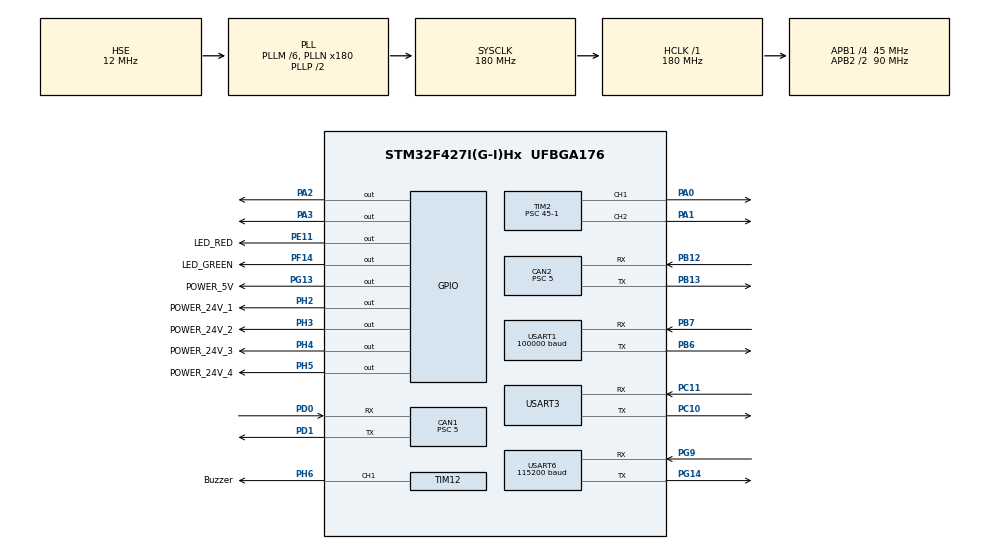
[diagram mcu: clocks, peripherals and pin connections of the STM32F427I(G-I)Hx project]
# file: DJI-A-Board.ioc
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CAN1.ABOM=ENABLE
CAN1.BS1=CAN_BS1_3TQ
CAN1.BS2=CAN_BS2_5TQ
CAN1.CalculateBaudRate=1000000
CAN1.CalculateTimeBit=1000
CAN1.CalculateTimeQuantum=111.11111111111111
CAN1.NART=ENABLE
CAN1.Prescaler=5
CAN2.ABOM=ENABLE
CAN2.BS1=CAN_BS1_3TQ
CAN2.BS2=CAN_BS2_5TQ
CAN2.CalculateBaudRate=1000000
CAN2.CalculateTimeBit=1000
CAN2.CalculateTimeQuantum=111.11111111111111
CAN2.NART=ENABLE
CAN2.Prescaler=5
Dma.Request0=USART1_RX
Dma.Request1=USART6_RX
Dma.Request2=USART6_TX
Dma.Request3=USART3_RX
Dma.Request4=USART3_TX
Dma.Request5=USART1_TX
Dma.USART1_RX.0.Direction=DMA_PERIPH_TO_MEMORY
Dma.USART1_RX.0.FIFOMode=DMA_FIFOMODE_DISABLE
Dma.USART1_RX.0.Instance=DMA2_Stream2
Dma.USART1_RX.0.MemDataAlignment=DMA_MDATAALIGN_BYTE
Dma.USART1_RX.0.MemInc=DMA_MINC_ENABLE
Dma.USART1_RX.0.Mode=DMA_CIRCULAR
Dma.USART1_RX.0.PeriphDataAlignment=DMA_PDATAALIGN_BYTE
Dma.USART1_RX.0.PeriphInc=DMA_PINC_DISABLE
Dma.USART1_RX.0.Priority=DMA_PRIORITY_LOW
Dma.USART1_TX.5.Direction=DMA_MEMORY_TO_PERIPH
Dma.USART1_TX.5.FIFOMode=DMA_FIFOMODE_DISABLE
Dma.USART1_TX.5.Instance=DMA2_Stream7
Dma.USART1_TX.5.MemDataAlignment=DMA_MDATAALIGN_BYTE
Dma.USART1_TX.5.MemInc=DMA_MINC_ENABLE
Dma.USART1_TX.5.Mode=DMA_NORMAL
Dma.USART1_TX.5.PeriphDataAlignment=DMA_PDATAALIGN_BYTE
Dma.USART1_TX.5.PeriphInc=DMA_PINC_DISABLE
Dma.USART1_TX.5.Priority=DMA_PRIORITY_LOW
Dma.USART3_RX.3.Direction=DMA_PERIPH_TO_MEMORY
Dma.USART3_RX.3.FIFOMode=DMA_FIFOMODE_DISABLE
Dma.USART3_RX.3.Instance=DMA1_Stream1
Dma.USART3_RX.3.MemDataAlignment=DMA_MDATAALIGN_BYTE
Dma.USART3_RX.3.MemInc=DMA_MINC_ENABLE
Dma.USART3_RX.3.Mode=DMA_NORMAL
Dma.USART3_RX.3.PeriphDataAlignment=DMA_PDATAALIGN_BYTE
Dma.USART3_RX.3.PeriphInc=DMA_PINC_DISABLE
Dma.USART3_RX.3.Priority=DMA_PRIORITY_LOW
Dma.USART3_TX.4.Direction=DMA_MEMORY_TO_PERIPH
Dma.USART3_TX.4.FIFOMode=DMA_FIFOMODE_DISABLE
Dma.USART3_TX.4.Instance=DMA1_Stream3
Dma.USART3_TX.4.MemDataAlignment=DMA_MDATAALIGN_BYTE
Dma.USART3_TX.4.MemInc=DMA_MINC_ENABLE
Dma.USART3_TX.4.Mode=DMA_NORMAL
Dma.USART3_TX.4.PeriphDataAlignment=DMA_PDATAALIGN_BYTE
Dma.USART3_TX.4.PeriphInc=DMA_PINC_DISABLE
Dma.USART3_TX.4.Priority=DMA_PRIORITY_LOW
Dma.USART6_RX.1.Direction=DMA_PERIPH_TO_MEMORY
Dma.USART6_RX.1.FIFOMode=DMA_FIFOMODE_DISABLE
Dma.USART6_RX.1.Instance=DMA2_Stream1
Dma.USART6_RX.1.MemDataAlignment=DMA_MDATAALIGN_BYTE
Dma.USART6_RX.1.MemInc=DMA_MINC_ENABLE
Dma.USART6_RX.1.Mode=DMA_NORMAL
Dma.USART6_RX.1.PeriphDataAlignment=DMA_PDATAALIGN_BYTE
Dma.USART6_RX.1.PeriphInc=DMA_PINC_DISABLE
Dma.USART6_RX.1.Priority=DMA_PRIORITY_LOW
Dma.USART6_TX.2.Direction=DMA_MEMORY_TO_PERIPH
Dma.USART6_TX.2.FIFOMode=DMA_FIFOMODE_DISABLE
Dma.USART6_TX.2.Instance=DMA2_Stream6
Dma.USART6_TX.2.MemDataAlignment=DMA_MDATAALIGN_BYTE
Dma.USART6_TX.2.MemInc=DMA_MINC_ENABLE
Dma.USART6_TX.2.Mode=DMA_NORMAL
Dma.USART6_TX.2.PeriphDataAlignment=DMA_PDATAALIGN_BYTE
Dma.USART6_TX.2.PeriphInc=DMA_PINC_DISABLE
Dma.USART6_TX.2.Priority=DMA_PRIORITY_LOW
Mcu.Family=STM32F4
Mcu.Name=STM32F427I(G-I)Hx
Mcu.Package=UFBGA176
NVIC.CAN1_RX0_IRQn=true\:0\:0\:false\:false\:true\:true\:true\:true
NVIC.CAN2_RX0_IRQn=true\:0\:0\:false\:false\:true\:true\:true\:true
NVIC.DMA1_Stream1_IRQn=true\:0\:0\:false\:false\:true\:false\:true\:true
NVIC.DMA1_Stream3_IRQn=true\:0\:0\:false\:false\:true\:false\:true\:true
NVIC.DMA2_Stream1_IRQn=true\:0\:0\:false\:false\:true\:false\:true\:true
NVIC.DMA2_Stream2_IRQn=true\:0\:0\:false\:false\:true\:false\:true\:true
NVIC.DMA2_Stream6_IRQn=true\:0\:0\:false\:false\:true\:false\:true\:true
NVIC.DMA2_Stream7_IRQn=true\:0\:0\:false\:false\:true\:false\:true\:true
NVIC.PriorityGroup=NVIC_PRIORITYGROUP_4
NVIC.TIM2_IRQn=true\:0\:0\:false\:false\:true\:true\:true\:true
NVIC.USART1_IRQn=true\:0\:0\:false\:false\:true\:true\:true\:true
NVIC.USART3_IRQn=true\:0\:0\:false\:false\:true\:true\:true\:true
NVIC.USART6_IRQn=true\:0\:0\:false\:false\:true\:true\:true\:true
PA0/WKUP.Signal=S_TIM2_CH1_ETR
PA1.Signal=S_TIM2_CH2
PA13.Mode=Serial_Wire
PA13.Signal=SYS_JTMS-SWDIO
PA14.Mode=Serial_Wire
PA14.Signal=SYS_JTCK-SWCLK
PA2.Signal=GPIO_Output
PA3.Signal=GPIO_Output
PB12.Mode=CAN_Activate
PB12.Signal=CAN2_RX
PB13.Mode=CAN_Activate
PB13.Signal=CAN2_TX
PB6.GPIO_PuPd=GPIO_NOPULL
PB6.Mode=Asynchronous
PB6.Signal=USART1_TX
PB7.GPIO_PuPd=GPIO_NOPULL
PB7.Mode=Asynchronous
PB7.Signal=USART1_RX
PC10.Mode=Asynchronous
PC10.Signal=USART3_TX
PC11.Mode=Asynchronous
PC11.Signal=USART3_RX
PD0.Mode=CAN_Activate
PD0.Signal=CAN1_RX
PD1.Mode=CAN_Activate
PD1.Signal=CAN1_TX
PE11.GPIO_Label=LED_RED
PE11.GPIO_PuPd=GPIO_PULLUP
PE11.PinState=GPIO_PIN_SET
PE11.Signal=GPIO_Output
PF14.GPIO_Label=LED_GREEN
PF14.GPIO_PuPd=GPIO_PULLUP
PF14.PinState=GPIO_PIN_SET
PF14.Signal=GPIO_Output
PG13.GPIO_Label=POWER_5V
PG13.Signal=GPIO_Output
PG14.GPIO_PuPd=GPIO_NOPULL
PG14.Mode=Asynchronous
PG14.Signal=USART6_TX
PG9.GPIO_PuPd=GPIO_NOPULL
PG9.Mode=Asynchronous
PG9.Signal=USART6_RX
PH0/OSC_IN.Mode=HSE-External-Oscillator
PH0/OSC_IN.Signal=RCC_OSC_IN
PH1/OSC_OUT.Mode=HSE-External-Oscillator
PH1/OSC_OUT.Signal=RCC_OSC_OUT
PH2.GPIO_Label=POWER_24V_1
PH2.GPIO_PuPd=GPIO_PULLUP
PH2.PinState=GPIO_PIN_SET
PH2.Signal=GPIO_Output
PH3.GPIO_Label=POWER_24V_2
PH3.GPIO_PuPd=GPIO_PULLUP
PH3.PinState=GPIO_PIN_SET
PH3.Signal=GPIO_Output
PH4.GPIO_Label=POWER_24V_3
PH4.GPIO_PuPd=GPIO_PULLUP
PH4.PinState=GPIO_PIN_SET
PH4.Signal=GPIO_Output
PH5.GPIO_Label=POWER_24V_4
PH5.GPIO_PuPd=GPIO_PULLUP
PH5.PinState=GPIO_PIN_SET
PH5.Signal=GPIO_Output
PH6.GPIO_Label=Buzzer
PH6.Signal=S_TIM12_CH1
ProjectManager.HeapSize=0x200
ProjectManager.StackSize=0x400
ProjectManager.TargetToolchain=STM32CubeIDE
RCC.48MHZClocksFreq_Value=90000000
RCC.AHBFreq_Value=180000000
RCC.APB1CLKDivider=RCC_HCLK_DIV4
RCC.APB1Freq_Value=45000000
RCC.APB1TimFreq_Value=90000000
RCC.APB2CLKDivider=RCC_HCLK_DIV2
RCC.APB2Freq_Value=90000000
RCC.APB2TimFreq_Value=180000000
RCC.CortexFreq_Value=180000000
RCC.HCLKFreq_Value=180000000
RCC.HSE_VALUE=12000000
RCC.HSI_VALUE=16000000
RCC.LSE_VALUE=32768
RCC.PLLM=6
RCC.PLLN=180
RCC.PLLSourceVirtual=RCC_PLLSOURCE_HSE
RCC.SYSCLKFreq_VALUE=180000000
RCC.SYSCLKSource=RCC_SYSCLKSOURCE_PLLCLK
RCC.VCOOutputFreq_Value=360000000
SH.S_TIM12_CH1.0=TIM12_CH1,PWM Generation1 CH1
SH.S_TIM2_CH1_ETR.0=TIM2_CH1,PWM Generation1 CH1
SH.S_TIM2_CH2.0=TIM2_CH2,PWM Generation2 CH2
TIM12.Channel-PWM\ Generation1\ CH1=TIM_CHANNEL_1
TIM12.Prescaler=9-1
TIM2.AutoReloadPreload=TIM_AUTORELOAD_PRELOAD_ENABLE
TIM2.Channel-PWM\ Generation1\ CH1=TIM_CHANNEL_1
TIM2.Channel-PWM\ Generation2\ CH2=TIM_CHANNEL_2
TIM2.Period=200-1
TIM2.Prescaler=45-1
TIM2.TIM_MasterOutputTrigger=TIM_TRGO_RESET
USART1.BaudRate=100000
USART1.Mode=MODE_TX_RX
USART1.Parity=PARITY_EVEN
USART1.VirtualMode=VM_ASYNC
USART3.VirtualMode=VM_ASYNC
USART6.BaudRate=115200
USART6.VirtualMode=VM_ASYNC
VP_TIM12_VS_ClockSourceINT.Mode=Internal
VP_TIM2_VS_ClockSourceINT.Mode=Internal
board=custom

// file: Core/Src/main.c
/* USER CODE BEGIN Header */
/**
  ******************************************************************************
  * @file           : main.c
  * @brief          : Main program body
  ******************************************************************************
  * @attention
  *
  * Copyright (c) 2025 STMicroelectronics.
  * All rights reserved.
  *
  * This software is licensed under terms that can be found in the LICENSE file
  * in the root directory of this software component.
  * If no LICENSE file comes with this software, it is provided AS-IS.
  *
  ******************************************************************************
  */
/* USER CODE END Header */
#include "main.h"

/* USER CODE BEGIN Includes */
#include  "bsp.h"
#include <stdio.h>
#include "../../User_Lib/user_music.h"

/* USER CODE END Includes */

CAN_HandleTypeDef hcan1;
CAN_HandleTypeDef hcan2;

TIM_HandleTypeDef htim2;
TIM_HandleTypeDef htim12;

UART_HandleTypeDef huart1;
UART_HandleTypeDef huart3;
UART_HandleTypeDef huart6;
DMA_HandleTypeDef hdma_usart1_rx;
DMA_HandleTypeDef hdma_usart1_tx;
DMA_HandleTypeDef hdma_usart3_rx;
DMA_HandleTypeDef hdma_usart3_tx;
DMA_HandleTypeDef hdma_usart6_rx;
DMA_HandleTypeDef hdma_usart6_tx;

void SystemClock_Config(void);
static void MX_GPIO_Init(void);
static void MX_DMA_Init(void);
static void MX_USART1_UART_Init(void);
static void MX_USART6_UART_Init(void);
static void MX_CAN1_Init(void);
static void MX_CAN2_Init(void);
static void MX_TIM12_Init(void);
static void MX_TIM2_Init(void);
static void MX_USART3_UART_Init(void);

int main(void)
{

  /* MCU Configuration--------------------------------------------------------*/

  /* Reset of all peripherals, Initializes the Flash interface and the Systick. */
  HAL_Init();

  /* Configure the system clock */
  SystemClock_Config();

  /* Initialize all configured peripherals */
  MX_GPIO_Init();
  MX_DMA_Init();
  MX_USART1_UART_Init();
  MX_USART6_UART_Init();
  MX_CAN1_Init();
  MX_CAN2_Init();
  MX_TIM12_Init();
  MX_TIM2_Init();
  MX_USART3_UART_Init();
  /* USER CODE BEGIN 2 */
  JScope_Init(&htim2);

  UART_Init(&ros_uart, &huart6);
  UART_RegisterCallback(&ros_uart, ros_uart_callback);

  LED_Init(&user_red_led, LED_RED_GPIO_Port, LED_RED_Pin, 1);
  LED_Init(&user_green_led, LED_GREEN_GPIO_Port, LED_GREEN_Pin, 1);
  LED_On(&user_green_led);

  // 初始化蜂鸣器
  Buzzer_Init(&user_buzzer_1, &htim12, TIM_CHANNEL_1, TIM12_CLK);

  // 初始化启动音乐
  StartupMusic_Init(&user_startup_music, &user_buzzer_1, &user_startup_music_task, bad_apple, sizeof(bad_apple) / sizeof(bad_apple[0]));
  StartupMusic_Start(&user_startup_music);

  SysTick_InitTask(&LED_Blink_Task, &user_red_led, 10, 500, Task_REPEAT, LED_Blink_Callback);
  SysTick_StartTask(&LED_Blink_Task);

  PWM_Init(&left_motor, &htim2, TIM_CHANNEL_1, PWM_16BIT, TIM2_CLK);
  PWM_Init(&right_motor, &htim2, TIM_CHANNEL_2, PWM_16BIT, TIM2_CLK);

  PWM_Set_Frequency(&left_motor, 50);
  PWM_Set_Frequency(&right_motor, 50);

  PWM_Set_Duty(&left_motor, 0.0f);
  PWM_Set_Duty(&right_motor, 0.0f);

  PID_Init(&direction_pid_controller, 10.0f, 0.0f, 0.0f, 1000.0f, 0.0f);

  Trap_Init(&left_duty_planner,  0.0f, SERVO_RAMP_VMAX, SERVO_RAMP_AMAX);
  Trap_Init(&right_duty_planner, 0.0f, SERVO_RAMP_VMAX, SERVO_RAMP_AMAX);
  SysTick_InitTask(&servo_ramp_task, NULL, SERVO_RAMP_TICK_MS,
                   SERVO_RAMP_TICK_MS, Task_REPEAT, Servo_Ramp_Callback);
  SysTick_StartTask(&servo_ramp_task);

  /* USER CODE END 2 */

  /* Infinite loop */
  while (1)
  {

    /* USER CODE BEGIN 3 */
    LOOP_EVENT_Handle();
  }
  /* USER CODE END 3 */
}

void SystemClock_Config(void)
{
  RCC_OscInitTypeDef RCC_OscInitStruct = {0};
  RCC_ClkInitTypeDef RCC_ClkInitStruct = {0};

  /** Configure the main internal regulator output voltage
  */
  __HAL_RCC_PWR_CLK_ENABLE();
  __HAL_PWR_VOLTAGESCALING_CONFIG(PWR_REGULATOR_VOLTAGE_SCALE1);

  /** Initializes the RCC Oscillators according to the specified parameters
  * in the RCC_OscInitTypeDef structure.
  */
  RCC_OscInitStruct.OscillatorType = RCC_OSCILLATORTYPE_HSE;
  RCC_OscInitStruct.HSEState = RCC_HSE_ON;
  RCC_OscInitStruct.PLL.PLLState = RCC_PLL_ON;
  RCC_OscInitStruct.PLL.PLLSource = RCC_PLLSOURCE_HSE;
  RCC_OscInitStruct.PLL.PLLM = 6;
  RCC_OscInitStruct.PLL.PLLN = 180;
  RCC_OscInitStruct.PLL.PLLP = RCC_PLLP_DIV2;
  RCC_OscInitStruct.PLL.PLLQ = 4;
  if (HAL_RCC_OscConfig(&RCC_OscInitStruct) != HAL_OK)
  {
    Error_Handler();
  }

  /** Activate the Over-Drive mode
  */
  if (HAL_PWREx_EnableOverDrive() != HAL_OK)
  {
    Error_Handler();
  }

  /** Initializes the CPU, AHB and APB buses clocks
  */
  RCC_ClkInitStruct.ClockType = RCC_CLOCKTYPE_HCLK|RCC_CLOCKTYPE_SYSCLK
                              |RCC_CLOCKTYPE_PCLK1|RCC_CLOCKTYPE_PCLK2;
  RCC_ClkInitStruct.SYSCLKSource = RCC_SYSCLKSOURCE_PLLCLK;
  RCC_ClkInitStruct.AHBCLKDivider = RCC_SYSCLK_DIV1;
  RCC_ClkInitStruct.APB1CLKDivider = RCC_HCLK_DIV4;
  RCC_ClkInitStruct.APB2CLKDivider = RCC_HCLK_DIV2;

  if (HAL_RCC_ClockConfig(&RCC_ClkInitStruct, FLASH_LATENCY_5) != HAL_OK)
  {
    Error_Handler();
  }
}

static void MX_CAN1_Init(void)
{

  hcan1.Instance = CAN1;
  hcan1.Init.Prescaler = 5;
  hcan1.Init.Mode = CAN_MODE_NORMAL;
  hcan1.Init.SyncJumpWidth = CAN_SJW_1TQ;
  hcan1.Init.TimeSeg1 = CAN_BS1_3TQ;
  hcan1.Init.TimeSeg2 = CAN_BS2_5TQ;
  hcan1.Init.TimeTriggeredMode = DISABLE;
  hcan1.Init.AutoBusOff = ENABLE;
  hcan1.Init.AutoWakeUp = DISABLE;
  hcan1.Init.AutoRetransmission = ENABLE;
  hcan1.Init.ReceiveFifoLocked = DISABLE;
  hcan1.Init.TransmitFifoPriority = DISABLE;
  if (HAL_CAN_Init(&hcan1) != HAL_OK)
  {
    Error_Handler();
  }

}

static void MX_CAN2_Init(void)
{

  hcan2.Instance = CAN2;
  hcan2.Init.Prescaler = 5;
  hcan2.Init.Mode = CAN_MODE_NORMAL;
  hcan2.Init.SyncJumpWidth = CAN_SJW_1TQ;
  hcan2.Init.TimeSeg1 = CAN_BS1_3TQ;
  hcan2.Init.TimeSeg2 = CAN_BS2_5TQ;
  hcan2.Init.TimeTriggeredMode = DISABLE;
  hcan2.Init.AutoBusOff = ENABLE;
  hcan2.Init.AutoWakeUp = DISABLE;
  hcan2.Init.AutoRetransmission = ENABLE;
  hcan2.Init.ReceiveFifoLocked = DISABLE;
  hcan2.Init.TransmitFifoPriority = DISABLE;
  if (HAL_CAN_Init(&hcan2) != HAL_OK)
  {
    Error_Handler();
  }

}

static void MX_TIM2_Init(void)
{

  TIM_ClockConfigTypeDef sClockSourceConfig = {0};
  TIM_MasterConfigTypeDef sMasterConfig = {0};
  TIM_OC_InitTypeDef sConfigOC = {0};

  htim2.Instance = TIM2;
  htim2.Init.Prescaler = 45-1;
  htim2.Init.CounterMode = TIM_COUNTERMODE_UP;
  htim2.Init.Period = 200-1;
  htim2.Init.ClockDivision = TIM_CLOCKDIVISION_DIV1;
  htim2.Init.AutoReloadPreload = TIM_AUTORELOAD_PRELOAD_ENABLE;
  if (HAL_TIM_Base_Init(&htim2) != HAL_OK)
  {
    Error_Handler();
  }
  sClockSourceConfig.ClockSource = TIM_CLOCKSOURCE_INTERNAL;
  if (HAL_TIM_ConfigClockSource(&htim2, &sClockSourceConfig) != HAL_OK)
  {
    Error_Handler();
  }
  if (HAL_TIM_PWM_Init(&htim2) != HAL_OK)
  {
    Error_Handler();
  }
  sMasterConfig.MasterOutputTrigger = TIM_TRGO_RESET;
  sMasterConfig.MasterSlaveMode = TIM_MASTERSLAVEMODE_DISABLE;
  if (HAL_TIMEx_MasterConfigSynchronization(&htim2, &sMasterConfig) != HAL_OK)
  {
    Error_Handler();
  }
  sConfigOC.OCMode = TIM_OCMODE_PWM1;
  sConfigOC.Pulse = 0;
  sConfigOC.OCPolarity = TIM_OCPOLARITY_HIGH;
  sConfigOC.OCFastMode = TIM_OCFAST_DISABLE;
  if (HAL_TIM_PWM_ConfigChannel(&htim2, &sConfigOC, TIM_CHANNEL_1) != HAL_OK)
  {
    Error_Handler();
  }
  if (HAL_TIM_PWM_ConfigChannel(&htim2, &sConfigOC, TIM_CHANNEL_2) != HAL_OK)
  {
    Error_Handler();
  }
  HAL_TIM_MspPostInit(&htim2);

}

static void MX_TIM12_Init(void)
{

  TIM_ClockConfigTypeDef sClockSourceConfig = {0};
  TIM_OC_InitTypeDef sConfigOC = {0};

  htim12.Instance = TIM12;
  htim12.Init.Prescaler = 9-1;
  htim12.Init.CounterMode = TIM_COUNTERMODE_UP;
  htim12.Init.Period = 65535;
  htim12.Init.ClockDivision = TIM_CLOCKDIVISION_DIV1;
  htim12.Init.AutoReloadPreload = TIM_AUTORELOAD_PRELOAD_DISABLE;
  if (HAL_TIM_Base_Init(&htim12) != HAL_OK)
  {
    Error_Handler();
  }
  sClockSourceConfig.ClockSource = TIM_CLOCKSOURCE_INTERNAL;
  if (HAL_TIM_ConfigClockSource(&htim12, &sClockSourceConfig) != HAL_OK)
  {
    Error_Handler();
  }
  if (HAL_TIM_PWM_Init(&htim12) != HAL_OK)
  {
    Error_Handler();
  }
  sConfigOC.OCMode = TIM_OCMODE_PWM1;
  sConfigOC.Pulse = 0;
  sConfigOC.OCPolarity = TIM_OCPOLARITY_HIGH;
  sConfigOC.OCFastMode = TIM_OCFAST_DISABLE;
  if (HAL_TIM_PWM_ConfigChannel(&htim12, &sConfigOC, TIM_CHANNEL_1) != HAL_OK)
  {
    Error_Handler();
  }
  HAL_TIM_MspPostInit(&htim12);

}

static void MX_USART1_UART_Init(void)
{

  huart1.Instance = USART1;
  huart1.Init.BaudRate = 100000;
  huart1.Init.WordLength = UART_WORDLENGTH_8B;
  huart1.Init.StopBits = UART_STOPBITS_1;
  huart1.Init.Parity = UART_PARITY_EVEN;
  huart1.Init.Mode = UART_MODE_TX_RX;
  huart1.Init.HwFlowCtl = UART_HWCONTROL_NONE;
  huart1.Init.OverSampling = UART_OVERSAMPLING_16;
  if (HAL_UART_Init(&huart1) != HAL_OK)
  {
    Error_Handler();
  }

}

static void MX_USART3_UART_Init(void)
{

  huart3.Instance = USART3;
  huart3.Init.BaudRate = 115200;
  huart3.Init.WordLength = UART_WORDLENGTH_8B;
  huart3.Init.StopBits = UART_STOPBITS_1;
  huart3.Init.Parity = UART_PARITY_NONE;
  huart3.Init.Mode = UART_MODE_TX_RX;
  huart3.Init.HwFlowCtl = UART_HWCONTROL_NONE;
  huart3.Init.OverSampling = UART_OVERSAMPLING_16;
  if (HAL_UART_Init(&huart3) != HAL_OK)
  {
    Error_Handler();
  }

}

static void MX_USART6_UART_Init(void)
{

  huart6.Instance = USART6;
  huart6.Init.BaudRate = 115200;
  huart6.Init.WordLength = UART_WORDLENGTH_8B;
  huart6.Init.StopBits = UART_STOPBITS_1;
  huart6.Init.Parity = UART_PARITY_NONE;
  huart6.Init.Mode = UART_MODE_TX_RX;
  huart6.Init.HwFlowCtl = UART_HWCONTROL_NONE;
  huart6.Init.OverSampling = UART_OVERSAMPLING_16;
  if (HAL_UART_Init(&huart6) != HAL_OK)
  {
    Error_Handler();
  }

}

static void MX_DMA_Init(void)
{

  /* DMA controller clock enable */
  __HAL_RCC_DMA2_CLK_ENABLE();
  __HAL_RCC_DMA1_CLK_ENABLE();

  /* DMA interrupt init */
  /* DMA1_Stream1_IRQn interrupt configuration */
  HAL_NVIC_SetPriority(DMA1_Stream1_IRQn, 0, 0);
  HAL_NVIC_EnableIRQ(DMA1_Stream1_IRQn);
  /* DMA1_Stream3_IRQn interrupt configuration */
  HAL_NVIC_SetPriority(DMA1_Stream3_IRQn, 0, 0);
  HAL_NVIC_EnableIRQ(DMA1_Stream3_IRQn);
  /* DMA2_Stream1_IRQn interrupt configuration */
  HAL_NVIC_SetPriority(DMA2_Stream1_IRQn, 0, 0);
  HAL_NVIC_EnableIRQ(DMA2_Stream1_IRQn);
  /* DMA2_Stream2_IRQn interrupt configuration */
  HAL_NVIC_SetPriority(DMA2_Stream2_IRQn, 0, 0);
  HAL_NVIC_EnableIRQ(DMA2_Stream2_IRQn);
  /* DMA2_Stream6_IRQn interrupt configuration */
  HAL_NVIC_SetPriority(DMA2_Stream6_IRQn, 0, 0);
  HAL_NVIC_EnableIRQ(DMA2_Stream6_IRQn);
  /* DMA2_Stream7_IRQn interrupt configuration */
  HAL_NVIC_SetPriority(DMA2_Stream7_IRQn, 0, 0);
  HAL_NVIC_EnableIRQ(DMA2_Stream7_IRQn);

}

static void MX_GPIO_Init(void)
{
  GPIO_InitTypeDef GPIO_InitStruct = {0};

  /* GPIO Ports Clock Enable */
  __HAL_RCC_GPIOG_CLK_ENABLE();
  __HAL_RCC_GPIOA_CLK_ENABLE();
  __HAL_RCC_GPIOB_CLK_ENABLE();
  __HAL_RCC_GPIOD_CLK_ENABLE();
  __HAL_RCC_GPIOC_CLK_ENABLE();
  __HAL_RCC_GPIOH_CLK_ENABLE();
  __HAL_RCC_GPIOE_CLK_ENABLE();
  __HAL_RCC_GPIOF_CLK_ENABLE();

  /*Configure GPIO pin Output Level */
  HAL_GPIO_WritePin(POWER_5V_GPIO_Port, POWER_5V_Pin, GPIO_PIN_RESET);

  /*Configure GPIO pin Output Level */
  HAL_GPIO_WritePin(GPIOH, POWER_24V_1_Pin|POWER_24V_2_Pin|POWER_24V_3_Pin|POWER_24V_4_Pin, GPIO_PIN_SET);

  /*Configure GPIO pin Output Level */
  HAL_GPIO_WritePin(GPIOA, GPIO_PIN_2|GPIO_PIN_3, GPIO_PIN_RESET);

  /*Configure GPIO pin Output Level */
  HAL_GPIO_WritePin(LED_RED_GPIO_Port, LED_RED_Pin, GPIO_PIN_SET);

  /*Configure GPIO pin Output Level */
  HAL_GPIO_WritePin(LED_GREEN_GPIO_Port, LED_GREEN_Pin, GPIO_PIN_SET);

  /*Configure GPIO pin : POWER_5V_Pin */
  GPIO_InitStruct.Pin = POWER_5V_Pin;
  GPIO_InitStruct.Mode = GPIO_MODE_OUTPUT_PP;
  GPIO_InitStruct.Pull = GPIO_NOPULL;
  GPIO_InitStruct.Speed = GPIO_SPEED_FREQ_LOW;
  HAL_GPIO_Init(POWER_5V_GPIO_Port, &GPIO_InitStruct);

  /*Configure GPIO pins : POWER_24V_1_Pin POWER_24V_2_Pin POWER_24V_3_Pin POWER_24V_4_Pin */
  GPIO_InitStruct.Pin = POWER_24V_1_Pin|POWER_24V_2_Pin|POWER_24V_3_Pin|POWER_24V_4_Pin;
  GPIO_InitStruct.Mode = GPIO_MODE_OUTPUT_PP;
  GPIO_InitStruct.Pull = GPIO_PULLUP;
  GPIO_InitStruct.Speed = GPIO_SPEED_FREQ_LOW;
  HAL_GPIO_Init(GPIOH, &GPIO_InitStruct);

  /*Configure GPIO pins : PA2 PA3 */
  GPIO_InitStruct.Pin = GPIO_PIN_2|GPIO_PIN_3;
  GPIO_InitStruct.Mode = GPIO_MODE_OUTPUT_PP;
  GPIO_InitStruct.Pull = GPIO_NOPULL;
  GPIO_InitStruct.Speed = GPIO_SPEED_FREQ_LOW;
  HAL_GPIO_Init(GPIOA, &GPIO_InitStruct);

  /*Configure GPIO pin : LED_RED_Pin */
  GPIO_InitStruct.Pin = LED_RED_Pin;
  GPIO_InitStruct.Mode = GPIO_MODE_OUTPUT_PP;
  GPIO_InitStruct.Pull = GPIO_PULLUP;
  GPIO_InitStruct.Speed = GPIO_SPEED_FREQ_LOW;
  HAL_GPIO_Init(LED_RED_GPIO_Port, &GPIO_InitStruct);

  /*Configure GPIO pin : LED_GREEN_Pin */
  GPIO_InitStruct.Pin = LED_GREEN_Pin;
  GPIO_InitStruct.Mode = GPIO_MODE_OUTPUT_PP;
  GPIO_InitStruct.Pull = GPIO_PULLUP;
  GPIO_InitStruct.Speed = GPIO_SPEED_FREQ_LOW;
  HAL_GPIO_Init(LED_GREEN_GPIO_Port, &GPIO_InitStruct);

}

void Error_Handler(void)
{
  __disable_irq();
  while (1)
  {
  }
}
